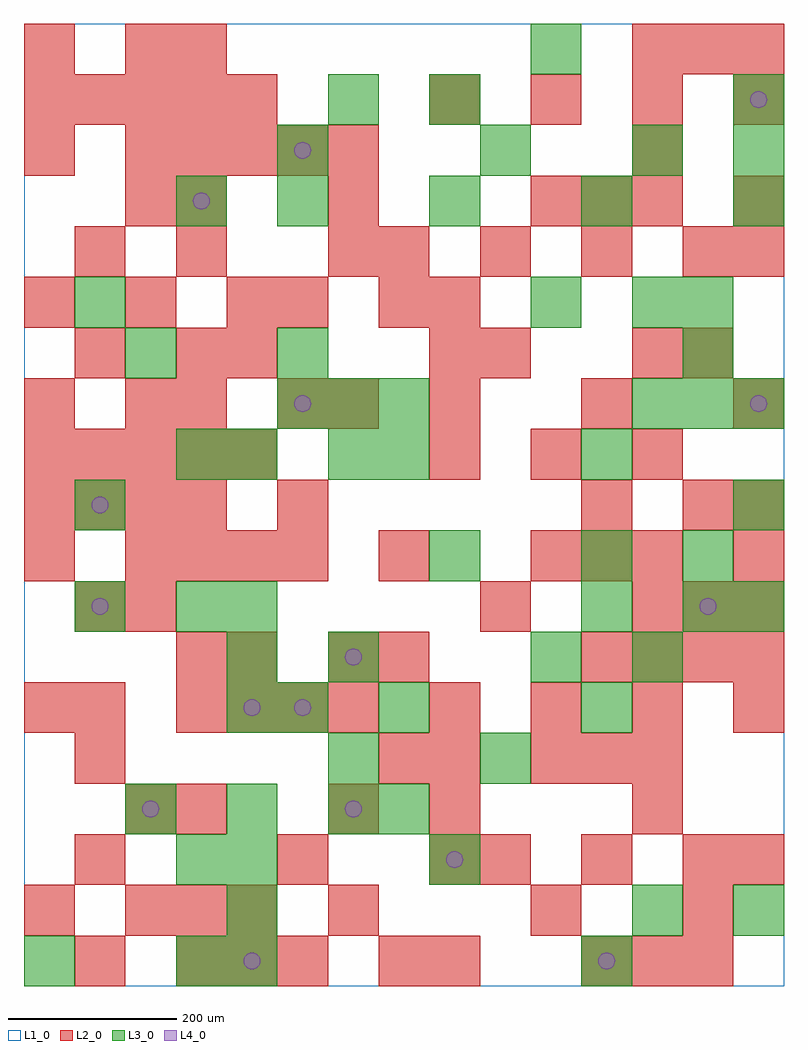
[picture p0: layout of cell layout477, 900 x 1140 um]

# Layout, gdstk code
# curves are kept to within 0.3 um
import gdstk
lib = gdstk.Library(unit=1e-6, precision=1e-09)
def R(c, l, rs):  # rectangles x0, y0, x1, y1
    for r in rs: c.add(gdstk.rectangle(r[:2], r[2:], *l))
def A(c, l, x, y, w, h, nx, ny, dx, dy):  # array of equal rectangles
    R(c, l, [(x+i*dx, y+j*dy, x+i*dx+w, y+j*dy+h) for i in range(nx) for j in range(ny)])
def P(c, l, *ps):  # polygons
    for p in ps: c.add(gdstk.Polygon(p, *l))
L1_0 = (1, 0)
L2_0 = (2, 0)
L3_0 = (3, 0)
L4_0 = (4, 0)

layout477 = lib.new_cell('layout477')
R(layout477, L1_0, [(0,0,900,1140)])
A(layout477, L2_0, 60, 0, 60, 60, 1, 3, 0, 120)
A(layout477, L2_0, 180, 0, 60, 60, 3, 1, 60, 0)
A(layout477, L2_0, 660, 0, 60, 60, 3, 1, 60, 0)
A(layout477, L2_0, 120, 60, 60, 60, 3, 1, 60, 0)
A(layout477, L2_0, 480, 120, 60, 60, 1, 3, 0, 60)
A(layout477, L2_0, 540, 120, 60, 60, 3, 1, 120, 0)
A(layout477, L2_0, 120, 180, 60, 60, 1, 4, 0, 240)
A(layout477, L2_0, 420, 240, 60, 60, 1, 3, 0, 120)
A(layout477, L2_0, 600, 240, 60, 60, 3, 2, 60, 240)
A(layout477, L2_0, 0, 300, 60, 60, 1, 3, 0, 180)
A(layout477, L2_0, 180, 300, 60, 60, 4, 1, 60, 0)
A(layout477, L2_0, 480, 300, 60, 60, 4, 2, 120, 720)
A(layout477, L2_0, 660, 360, 60, 60, 4, 1, 60, 0)
A(layout477, L2_0, 720, 420, 60, 60, 3, 2, 60, 660)
A(layout477, L2_0, 120, 480, 60, 60, 4, 1, 60, 0)
A(layout477, L2_0, 0, 540, 60, 60, 4, 1, 60, 0)
A(layout477, L2_0, 300, 540, 60, 60, 1, 3, 0, 120)
A(layout477, L2_0, 0, 600, 60, 60, 5, 2, 60, 420)
A(layout477, L2_0, 480, 600, 60, 60, 3, 1, 120, 0)
A(layout477, L2_0, 480, 660, 60, 60, 3, 1, 180, 0)
A(layout477, L2_0, 0, 780, 60, 60, 3, 1, 120, 0)
A(layout477, L2_0, 420, 840, 60, 60, 4, 1, 120, 0)
A(layout477, L2_0, 600, 900, 60, 60, 3, 1, 60, 0)
A(layout477, L2_0, 120, 960, 60, 60, 5, 1, 60, 0)
R(layout477, L2_0, [(420,0,480,60), (480,0,540,60), (0,60,60,120), (360,60,420,120), (600,60,660,120), (780,60,840,120), (300,120,360,180), (840,120,900,180), (180,180,240,240), (360,180,420,240), (720,180,780,240), (60,300,120,360), (180,360,240,420), (240,360,300,420), (360,360,420,420), (60,420,120,480), (540,420,600,480), (840,480,900,540), (660,540,720,600), (780,540,840,600), (840,540,900,600), (180,660,240,720), (360,660,420,720), (60,720,120,780), (180,720,240,780), (240,720,300,780), (480,720,540,780), (540,720,600,780), (720,720,780,780), (780,720,840,780), (420,780,480,840), (480,780,540,840), (60,840,120,900), (180,840,240,900), (360,840,420,900), (840,840,900,900), (180,900,240,960), (360,900,420,960), (840,900,900,960), (0,960,60,1020), (720,960,780,1020), (0,1080,60,1140), (120,1080,180,1140), (180,1080,240,1140)])
A(layout477, L3_0, 240, 0, 60, 60, 1, 3, 0, 60)
A(layout477, L3_0, 120, 180, 60, 60, 3, 1, 120, 0)
A(layout477, L3_0, 240, 300, 60, 60, 1, 3, 0, 60)
A(layout477, L3_0, 300, 660, 60, 60, 3, 1, 60, 0)
A(layout477, L3_0, 720, 660, 60, 60, 3, 1, 60, 0)
A(layout477, L3_0, 300, 900, 60, 60, 4, 1, 180, 0)
R(layout477, L3_0, [(0,0,60,60), (180,0,240,60), (660,0,720,60), (720,60,780,120), (840,60,900,120), (180,120,240,180), (480,120,540,180), (420,180,480,240), (360,240,420,300), (540,240,600,300), (300,300,360,360), (420,300,480,360), (660,300,720,360), (360,360,420,420), (600,360,660,420), (720,360,780,420), (60,420,120,480), (180,420,240,480), (660,420,720,480), (780,420,840,480), (840,420,900,480), (480,480,540,540), (660,480,720,540), (780,480,840,540), (60,540,120,600), (840,540,900,600), (180,600,240,660), (240,600,300,660), (360,600,420,660), (420,600,480,660), (660,600,720,660), (120,720,180,780), (300,720,360,780), (780,720,840,780), (60,780,120,840), (600,780,660,840), (720,780,780,840), (780,780,840,840), (180,900,240,960), (300,960,360,1020), (540,960,600,1020), (720,960,780,1020), (840,960,900,1020), (360,1020,420,1080), (480,1020,540,1080), (840,1020,900,1080), (600,1080,660,1140)])
P(layout477, L4_0, [(100,450),(99.239,453.827),(97.071,457.071),(93.827,459.239),(90,460),(86.173,459.239),(82.929,457.071),(80.761,453.827),(80,450),(80.761,446.173),(82.929,442.929),(86.173,440.761),(90,440),(93.827,440.761),(97.071,442.929),(99.239,446.173)],
  [(100,570),(99.239,573.827),(97.071,577.071),(93.827,579.239),(90,580),(86.173,579.239),(82.929,577.071),(80.761,573.827),(80,570),(80.761,566.173),(82.929,562.929),(86.173,560.761),(90,560),(93.827,560.761),(97.071,562.929),(99.239,566.173)],
  [(160,210),(159.239,213.827),(157.071,217.071),(153.827,219.239),(150,220),(146.173,219.239),(142.929,217.071),(140.761,213.827),(140,210),(140.761,206.173),(142.929,202.929),(146.173,200.761),(150,200),(153.827,200.761),(157.071,202.929),(159.239,206.173)],
  [(220,930),(219.239,933.827),(217.071,937.071),(213.827,939.239),(210,940),(206.173,939.239),(202.929,937.071),(200.761,933.827),(200,930),(200.761,926.173),(202.929,922.929),(206.173,920.761),(210,920),(213.827,920.761),(217.071,922.929),(219.239,926.173)],
  [(280,30),(279.239,33.827),(277.071,37.071),(273.827,39.239),(270,40),(266.173,39.239),(262.929,37.071),(260.761,33.827),(260,30),(260.761,26.173),(262.929,22.929),(266.173,20.761),(270,20),(273.827,20.761),(277.071,22.929),(279.239,26.173)],
  [(280,330),(279.239,333.827),(277.071,337.071),(273.827,339.239),(270,340),(266.173,339.239),(262.929,337.071),(260.761,333.827),(260,330),(260.761,326.173),(262.929,322.929),(266.173,320.761),(270,320),(273.827,320.761),(277.071,322.929),(279.239,326.173)],
  [(340,330),(339.239,333.827),(337.071,337.071),(333.827,339.239),(330,340),(326.173,339.239),(322.929,337.071),(320.761,333.827),(320,330),(320.761,326.173),(322.929,322.929),(326.173,320.761),(330,320),(333.827,320.761),(337.071,322.929),(339.239,326.173)],
  [(340,690),(339.239,693.827),(337.071,697.071),(333.827,699.239),(330,700),(326.173,699.239),(322.929,697.071),(320.761,693.827),(320,690),(320.761,686.173),(322.929,682.929),(326.173,680.761),(330,680),(333.827,680.761),(337.071,682.929),(339.239,686.173)],
  [(340,990),(339.239,993.827),(337.071,997.071),(333.827,999.239),(330,1000),(326.173,999.239),(322.929,997.071),(320.761,993.827),(320,990),(320.761,986.173),(322.929,982.929),(326.173,980.761),(330,980),(333.827,980.761),(337.071,982.929),(339.239,986.173)],
  [(400,210),(399.239,213.827),(397.071,217.071),(393.827,219.239),(390,220),(386.173,219.239),(382.929,217.071),(380.761,213.827),(380,210),(380.761,206.173),(382.929,202.929),(386.173,200.761),(390,200),(393.827,200.761),(397.071,202.929),(399.239,206.173)],
  [(400,390),(399.239,393.827),(397.071,397.071),(393.827,399.239),(390,400),(386.173,399.239),(382.929,397.071),(380.761,393.827),(380,390),(380.761,386.173),(382.929,382.929),(386.173,380.761),(390,380),(393.827,380.761),(397.071,382.929),(399.239,386.173)],
  [(520,150),(519.239,153.827),(517.071,157.071),(513.827,159.239),(510,160),(506.173,159.239),(502.929,157.071),(500.761,153.827),(500,150),(500.761,146.173),(502.929,142.929),(506.173,140.761),(510,140),(513.827,140.761),(517.071,142.929),(519.239,146.173)],
  [(700,30),(699.239,33.827),(697.071,37.071),(693.827,39.239),(690,40),(686.173,39.239),(682.929,37.071),(680.761,33.827),(680,30),(680.761,26.173),(682.929,22.929),(686.173,20.761),(690,20),(693.827,20.761),(697.071,22.929),(699.239,26.173)],
  [(820,450),(819.239,453.827),(817.071,457.071),(813.827,459.239),(810,460),(806.173,459.239),(802.929,457.071),(800.761,453.827),(800,450),(800.761,446.173),(802.929,442.929),(806.173,440.761),(810,440),(813.827,440.761),(817.071,442.929),(819.239,446.173)],
  [(880,690),(879.239,693.827),(877.071,697.071),(873.827,699.239),(870,700),(866.173,699.239),(862.929,697.071),(860.761,693.827),(860,690),(860.761,686.173),(862.929,682.929),(866.173,680.761),(870,680),(873.827,680.761),(877.071,682.929),(879.239,686.173)],
  [(880,1050),(879.239,1053.827),(877.071,1057.071),(873.827,1059.239),(870,1060),(866.173,1059.239),(862.929,1057.071),(860.761,1053.827),(860,1050),(860.761,1046.173),(862.929,1042.929),(866.173,1040.761),(870,1040),(873.827,1040.761),(877.071,1042.929),(879.239,1046.173)])

lib.write_gds('layout477.gds')
